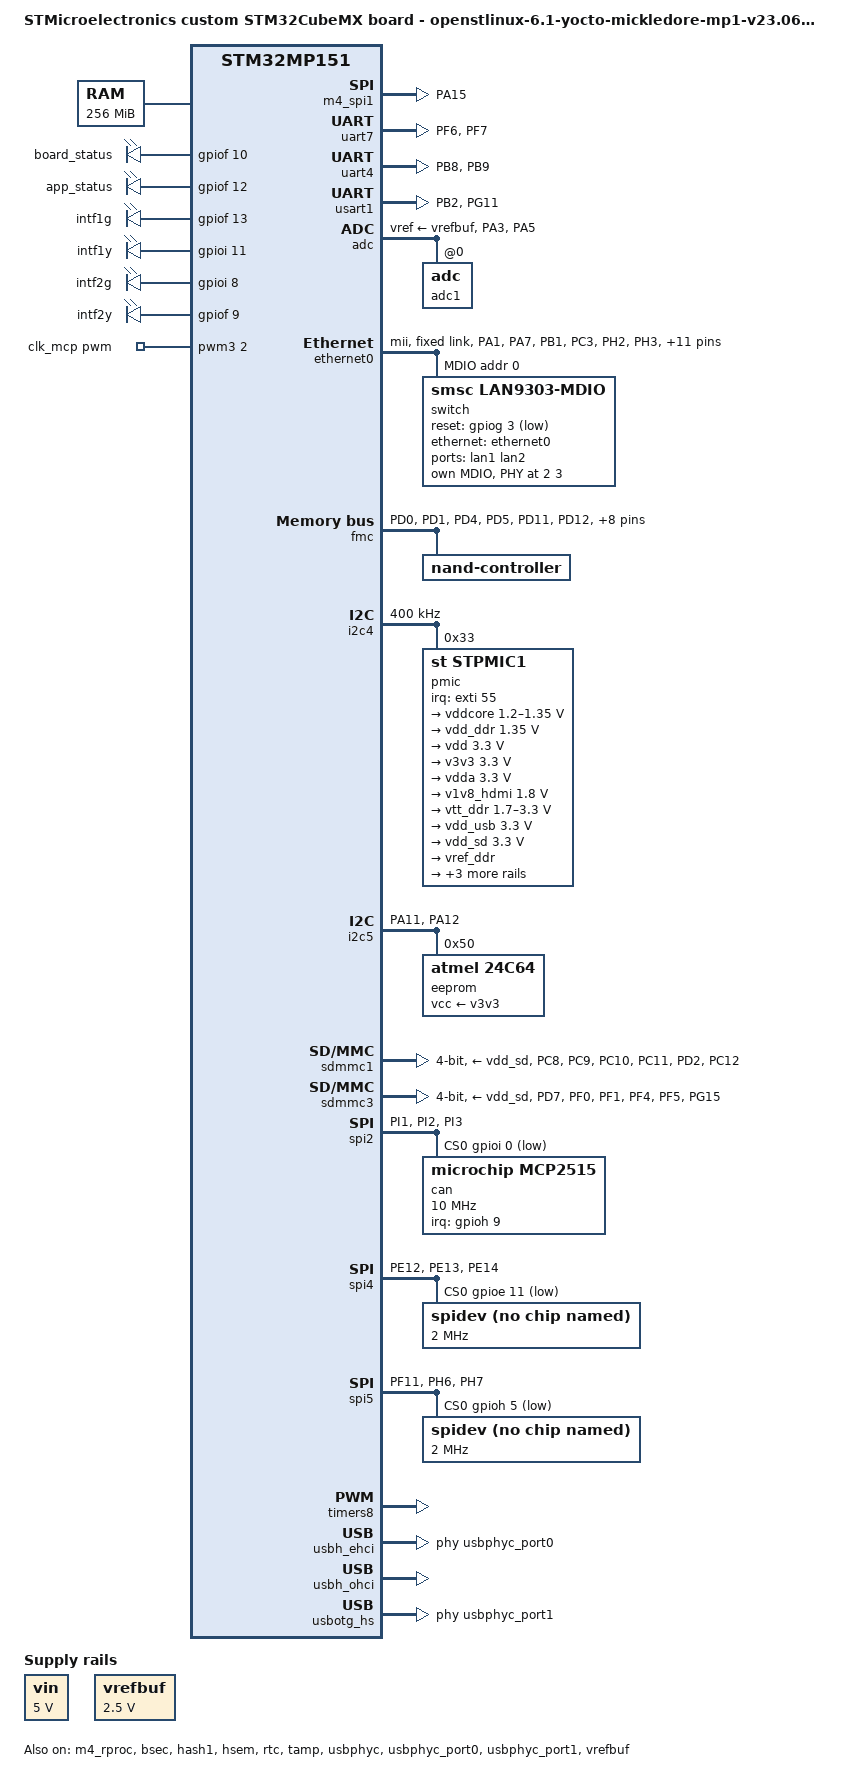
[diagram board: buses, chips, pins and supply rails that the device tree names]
// SPDX-License-Identifier: (GPL-2.0-or-later OR BSD-3-Clause)
/*
 * Copyright (C) 2024, STMicroelectronics - All Rights Reserved
 * Author: STM32CubeMX code generation for STMicroelectronics.
 */

/* For more information on Device Tree configuration, please refer to
 * https://wiki.st.com/stm32mpu/wiki/Category:Device_tree_configuration
 */

 /dts-v1/;
 #include <dt-bindings/pinctrl/stm32-pinfunc.h>
 
 #include "stm32mp151.dtsi"
 #include "stm32mp15xa.dtsi"
 #include "stm32mp15xxac-pinctrl.dtsi"
 #include "stm32mp15-m4-srm.dtsi"
 
 /* USER CODE BEGIN includes */
 #include <dt-bindings/mfd/st,stpmic1.h>
 #include "mcu-scmi.dtsi"
 #include <dt-bindings/leds/common.h>
 /* USER CODE END includes */
 
 / {
    model = "STMicroelectronics custom STM32CubeMX board - openstlinux-6.1-yocto-mickledore-mp1-v23.06.21";
    compatible = "st,stm32mp151a-mcu-xx-mx", "st,stm32mp151";

    memory@c0000000 {
        device_type = "memory";
        reg = <0xc0000000 0x10000000>;

        /* USER CODE BEGIN memory */
        /* USER CODE END memory */
    };

    aliases {
		ethernet0 = &ethernet0;
		serial0 = &usart1; //debug
		serial1 = &uart7; 
		serial2 = &uart4;
	};

	chosen {
		stdout-path = "serial0:115200n8";
	};

	led {
		compatible = "gpio-leds";

		board_status {
			gpios = <&gpiof 10 GPIO_ACTIVE_LOW>;
			linux,default-trigger = "timer";
			led-pattern = <50 50>;
		};

		app_status {
			gpios = <&gpiof 12 GPIO_ACTIVE_HIGH>;
			linux,default-trigger = "default-on";
			default-state = "on";
		};

		intf1g {
			gpios = <&gpiof 13 GPIO_ACTIVE_HIGH>;
			linux,default-trigger = "default-on";
			default-state = "on";
		};

		intf1y {
			gpios = <&gpioi 11 GPIO_ACTIVE_HIGH>;
			linux,default-trigger = "default-on";
			default-state = "on";
		};

		intf2g {
			gpios = <&gpioi 8 GPIO_ACTIVE_HIGH>;
			linux,default-trigger = "default-on";
			default-state = "on";
		};

		intf2y {
			gpios = <&gpiof 9 GPIO_ACTIVE_HIGH>;
			linux,default-trigger = "default-on";
			default-state = "on";
		};
	};
 
     reserved-memory {
         #address-cells = <1>;
         #size-cells = <1>;
         ranges;
 
         /* USER CODE BEGIN reserved-memory */
         mcuram2: mcuram2@10000000 {
             compatible = "shared-dma-pool";
             reg = <0x10000000 0x56000>;
             no-map;
         };
 
         vdev0vring0: vdev0vring0@10056000 {
             compatible = "shared-dma-pool";
             reg = <0x10056000 0x1000>;
             no-map;
         };
 
         vdev0vring1: vdev0vring1@10057000 {
             compatible = "shared-dma-pool";
             reg = <0x10057000 0x1000>;
             no-map;
         };
 
         vdev0buffer: vdev0buffer@10058000 {
             compatible = "shared-dma-pool";
             reg = <0x10058000 0x8000>;
             no-map;
         };
 
         mcuram: mcuram@30000000 {
             compatible = "shared-dma-pool";
             reg = <0x30000000 0x56000>;
             no-map;
         };
 
         retram: retram@38000000 {
             compatible = "shared-dma-pool";
             reg = <0x38000000 0x10000>;
             no-map;
         };
         /* USER CODE END reserved-memory */
     };
 
     /* USER CODE BEGIN root */
     usb_phy_tuning: usb-phy-tuning {
         st,hs-dc-level = <2>;
         st,fs-rftime-tuning;
         st,hs-rftime-reduction;
         st,hs-current-trim = <15>;
         st,hs-impedance-trim = <1>;
         st,squelch-level = <3>;
         st,hs-rx-offset = <2>;
         st,no-lsfs-sc;
     };
 
     vin: vin {
         compatible = "regulator-fixed";
         regulator-name = "vin";
         regulator-min-microvolt = <5000000>;
         regulator-max-microvolt = <5000000>;
         regulator-always-on;
     };
 
     clk_mcp: clk_mcp {
         compatible = "pwm-clock";
         #clock-cells = <0>;
         clock-frequency = <16000000>;
         pwms = <&pwm3 2 63 0>; /* 1 / 62.5 ns = 16 MHz */
         status = "okay";
     };
 
     led {
         compatible = "gpio-leds";
 
         board_status {
             gpios = <&gpiof 10 GPIO_ACTIVE_HIGH>;
             linux,default-trigger = "timer";
             led-pattern = <50 50>;
         };
 
         app_status {
             gpios = <&gpiof 12 GPIO_ACTIVE_HIGH>;
             linux,default-trigger = "timer";
             led-pattern = <50 50>;
         };
 
         intf1g {
             gpios = <&gpiof 13 GPIO_ACTIVE_HIGH>;
             linux,default-trigger = "timer";
             led-pattern = <50 50>;
         };
 
         intf1y {
             gpios = <&gpioi 11 GPIO_ACTIVE_HIGH>;
             linux,default-trigger = "timer";
             led-pattern = <50 50>;
         };
 
         intf2g {
             gpios = <&gpioi 8 GPIO_ACTIVE_HIGH>;
             linux,default-trigger = "timer";
             led-pattern = <50 50>;
         };
 
         intf2y {
             gpios = <&gpiof 9 GPIO_ACTIVE_HIGH>;
             linux,default-trigger = "timer";
             led-pattern = <50 50>;
         };
     };
     /* USER CODE END root */
 
     clocks{
 
         /* USER CODE BEGIN clocks */
         /* USER CODE END clocks */
     };
 
 }; /*root*/
 
 &pinctrl {
    uart4_pins_mx: uart4_mx-0 {
		pins1 {
			pinmux = <STM32_PINMUX('B', 8, AF8)>; /* UART4_RX */
			bias-disable;
		};
		pins2 {
			pinmux = <STM32_PINMUX('B', 9, AF8)>; /* UART4_TX */
			bias-disable;
			drive-push-pull;
			slew-rate = <0>;
		};
	};

	uart4_idle_pins_mx: uart4_idle_mx-0 {
		pins1 {
			pinmux = <STM32_PINMUX('B', 8, AF8)>; /* UART4_RX */
			bias-disable;
		};
		pins2 {
			pinmux = <STM32_PINMUX('B', 9, ANALOG)>; /* UART4_TX */
		};
	};

	uart4_sleep_pins_mx: uart4_sleep_mx-0 {
		pins {
			pinmux = <STM32_PINMUX('B', 8, ANALOG)>, /* UART4_RX */
					 <STM32_PINMUX('B', 9, ANALOG)>; /* UART4_TX */
		};
	};

	usart1_pins_mx: usart1_mx-0 {
		pins1 {
			pinmux = <STM32_PINMUX('B', 2, AF4)>; /* USART1_RX */
			bias-disable;
		};
		pins2 {
			pinmux = <STM32_PINMUX('G', 11, AF4)>; /* USART1_TX */
			bias-disable;
			drive-push-pull;
			slew-rate = <0>;
		};
	};

	usart1_idle_pins_mx: usart1_idle_mx-0 {
		pins1 {
			pinmux = <STM32_PINMUX('B', 2, AF4)>; /* USART1_RX */
			bias-disable;
		};
		pins2 {
			pinmux = <STM32_PINMUX('G', 11, ANALOG)>; /* USART1_TX */
		};
	};

	usart1_sleep_pins_mx: usart1_sleep_mx-0 {
		pins {
			pinmux = <STM32_PINMUX('B', 2, ANALOG)>, /* USART1_RX */
					 <STM32_PINMUX('G', 11, ANALOG)>; /* USART1_TX */
		};
	};

	uart7_pins_mx: uart7_mx-0 {
		pins1 {
			pinmux = <STM32_PINMUX('F', 6, AF7)>; /* UART7_RX */
			bias-disable;
		};
		pins2 {
			pinmux = <STM32_PINMUX('F', 7, AF7)>; /* UART7_TX */
			bias-disable;
			drive-push-pull;
			slew-rate = <0>;
		};
	};

	uart7_idle_pins_mx: uart7_idle_mx-0 {
		pins1 {
			pinmux = <STM32_PINMUX('F', 6, AF7)>; /* UART7_RX */
			bias-disable;
		};
		pins2 {
			pinmux = <STM32_PINMUX('F', 7, ANALOG)>; /* UART7_TX */
		};
	};

	uart7_sleep_pins_mx: uart7_sleep_mx-0 {
		pins {
			pinmux = <STM32_PINMUX('F', 6, ANALOG)>, /* UART7_RX */
					 <STM32_PINMUX('F', 7, ANALOG)>; /* UART7_TX */
		};
	};

	m4_spi1_pins_mx: m4_spi1_mx-0 {
		pins {
			pinmux = <STM32_PINMUX('A', 15, RSVD)>; /* SPI1_NSS */
		};
    };
 
     adc_pins_mx: adc_mx-0 {
         pins {
             pinmux = <STM32_PINMUX('A', 3, ANALOG)>, /* ADC1_INP15 */
                      <STM32_PINMUX('A', 5, ANALOG)>; /* ADC1_INP19 */
         };
     };
 
     adc_sleep_pins_mx: adc_sleep_mx-0 {
         pins {
             pinmux = <STM32_PINMUX('A', 3, ANALOG)>, /* ADC1_INP15 */
                      <STM32_PINMUX('A', 5, ANALOG)>; /* ADC1_INP19 */
         };
     };
 
     eth1_pins_mx: eth1_mx-0 {
         pins1 {
             pinmux = <STM32_PINMUX('A', 1, AF11)>, /* ETH1_RX_CLK */
                      <STM32_PINMUX('A', 7, AF11)>, /* ETH1_RX_DV */
                      <STM32_PINMUX('B', 1, AF11)>, /* ETH1_RXD3 */
                      <STM32_PINMUX('C', 3, AF11)>, /* ETH1_TX_CLK */
                      <STM32_PINMUX('H', 2, AF11)>, /* ETH1_CRS */
                      <STM32_PINMUX('H', 3, AF11)>, /* ETH1_COL */
                      <STM32_PINMUX('I', 10, AF11)>; /* ETH1_RX_ER */
             bias-disable;
         };
         pins2 {
             pinmux = <STM32_PINMUX('A', 2, AF11)>; /* ETH1_MDIO */
             bias-disable;
             drive-push-pull;
             slew-rate = <0>;
         };
         pins3 {
             pinmux = <STM32_PINMUX('B', 0, AF11)>, /* ETH1_RXD2 */
                      <STM32_PINMUX('C', 4, AF11)>; /* ETH1_RXD0 */
             bias-pull-down;
         };
         pins4 {
             pinmux = <STM32_PINMUX('B', 11, AF11)>, /* ETH1_TX_EN */
                      <STM32_PINMUX('C', 1, AF11)>, /* ETH1_MDC */
                      <STM32_PINMUX('C', 2, AF11)>, /* ETH1_TXD2 */
                      <STM32_PINMUX('E', 2, AF11)>, /* ETH1_TXD3 */
                      <STM32_PINMUX('G', 13, AF11)>, /* ETH1_TXD0 */
                      <STM32_PINMUX('G', 14, AF11)>; /* ETH1_TXD1 */
             bias-disable;
             drive-push-pull;
             slew-rate = <1>;
         };
         pins5 {
             pinmux = <STM32_PINMUX('C', 5, AF11)>; /* ETH1_RXD1 */
             bias-pull-up;
         };
     };
 
     eth1_sleep_pins_mx: eth1_sleep_mx-0 {
         pins {
             pinmux = <STM32_PINMUX('A', 1, ANALOG)>, /* ETH1_RX_CLK */
                      <STM32_PINMUX('A', 2, ANALOG)>, /* ETH1_MDIO */
                      <STM32_PINMUX('A', 7, ANALOG)>, /* ETH1_RX_DV */
                      <STM32_PINMUX('B', 0, ANALOG)>, /* ETH1_RXD2 */
                      <STM32_PINMUX('B', 1, ANALOG)>, /* ETH1_RXD3 */
                      <STM32_PINMUX('B', 11, ANALOG)>, /* ETH1_TX_EN */
                      <STM32_PINMUX('C', 1, ANALOG)>, /* ETH1_MDC */
                      <STM32_PINMUX('C', 2, ANALOG)>, /* ETH1_TXD2 */
                      <STM32_PINMUX('C', 3, ANALOG)>, /* ETH1_TX_CLK */
                      <STM32_PINMUX('C', 4, ANALOG)>, /* ETH1_RXD0 */
                      <STM32_PINMUX('C', 5, ANALOG)>, /* ETH1_RXD1 */
                      <STM32_PINMUX('E', 2, ANALOG)>, /* ETH1_TXD3 */
                      <STM32_PINMUX('G', 13, ANALOG)>, /* ETH1_TXD0 */
                      <STM32_PINMUX('G', 14, ANALOG)>, /* ETH1_TXD1 */
                      <STM32_PINMUX('H', 2, ANALOG)>, /* ETH1_CRS */
                      <STM32_PINMUX('H', 3, ANALOG)>, /* ETH1_COL */
                      <STM32_PINMUX('I', 10, ANALOG)>; /* ETH1_RX_ER */
         };
     };
 
     fmc_pins_mx: fmc_mx-0 {
         pins1 {
             pinmux = <STM32_PINMUX('D', 0, AF12)>, /* FMC_D2 */
                      <STM32_PINMUX('D', 1, AF12)>, /* FMC_D3 */
                      <STM32_PINMUX('D', 4, AF12)>, /* FMC_NOE */
                      <STM32_PINMUX('D', 5, AF12)>, /* FMC_NWE */
                      <STM32_PINMUX('D', 11, AF12)>, /* FMC_CLE */
                      <STM32_PINMUX('D', 12, AF12)>, /* FMC_ALE */
                      <STM32_PINMUX('D', 14, AF12)>, /* FMC_D0 */
                      <STM32_PINMUX('D', 15, AF12)>, /* FMC_D1 */
                      <STM32_PINMUX('E', 7, AF12)>, /* FMC_D4 */
                      <STM32_PINMUX('E', 8, AF12)>, /* FMC_D5 */
                      <STM32_PINMUX('E', 9, AF12)>, /* FMC_D6 */
                      <STM32_PINMUX('E', 10, AF12)>, /* FMC_D7 */
                      <STM32_PINMUX('G', 9, AF12)>; /* FMC_NCE */
             bias-disable;
             drive-push-pull;
             slew-rate = <1>;
         };
         pins2 {
             pinmux = <STM32_PINMUX('D', 6, AF12)>; /* FMC_NWAIT */
             bias-pull-up;
         };
     };
 
     fmc_sleep_pins_mx: fmc_sleep_mx-0 {
         pins {
             pinmux = <STM32_PINMUX('D', 0, ANALOG)>, /* FMC_D2 */
                      <STM32_PINMUX('D', 1, ANALOG)>, /* FMC_D3 */
                      <STM32_PINMUX('D', 4, ANALOG)>, /* FMC_NOE */
                      <STM32_PINMUX('D', 5, ANALOG)>, /* FMC_NWE */
                      <STM32_PINMUX('D', 6, ANALOG)>, /* FMC_NWAIT */
                      <STM32_PINMUX('D', 11, ANALOG)>, /* FMC_CLE */
                      <STM32_PINMUX('D', 12, ANALOG)>, /* FMC_ALE */
                      <STM32_PINMUX('D', 14, ANALOG)>, /* FMC_D0 */
                      <STM32_PINMUX('D', 15, ANALOG)>, /* FMC_D1 */
                      <STM32_PINMUX('E', 7, ANALOG)>, /* FMC_D4 */
                      <STM32_PINMUX('E', 8, ANALOG)>, /* FMC_D5 */
                      <STM32_PINMUX('E', 9, ANALOG)>, /* FMC_D6 */
                      <STM32_PINMUX('E', 10, ANALOG)>, /* FMC_D7 */
                      <STM32_PINMUX('G', 9, ANALOG)>; /* FMC_NCE */
         };
     };
 
     i2c5_pins_mx: i2c5_mx-0 {
         pins {
             pinmux = <STM32_PINMUX('A', 11, AF4)>, /* I2C5_SCL */
                      <STM32_PINMUX('A', 12, AF4)>; /* I2C5_SDA */
             bias-disable;
             drive-open-drain;
             slew-rate = <0>;
         };
     };
 
     i2c5_sleep_pins_mx: i2c5_sleep_mx-0 {
         pins {
             pinmux = <STM32_PINMUX('A', 11, ANALOG)>, /* I2C5_SCL */
                      <STM32_PINMUX('A', 12, ANALOG)>; /* I2C5_SDA */
         };
     };
 
     sdmmc1_pins_mx: sdmmc1_mx-0 {
         pins1 {
             pinmux = <STM32_PINMUX('C', 8, AF12)>, /* SDMMC1_D0 */
                      <STM32_PINMUX('C', 9, AF12)>, /* SDMMC1_D1 */
                      <STM32_PINMUX('C', 10, AF12)>, /* SDMMC1_D2 */
                      <STM32_PINMUX('C', 11, AF12)>, /* SDMMC1_D3 */
                      <STM32_PINMUX('D', 2, AF12)>; /* SDMMC1_CMD */
             bias-pull-up;
             drive-push-pull;
             slew-rate = <1>;
         };
         pins2 {
             pinmux = <STM32_PINMUX('C', 12, AF12)>; /* SDMMC1_CK */
             bias-disable;
             drive-push-pull;
             slew-rate = <3>;
         };
     };
 
     sdmmc1_opendrain_pins_mx: sdmmc1_opendrain_mx-0 {
         pins1 {
             pinmux = <STM32_PINMUX('C', 8, AF12)>, /* SDMMC1_D0 */
                      <STM32_PINMUX('C', 9, AF12)>, /* SDMMC1_D1 */
                      <STM32_PINMUX('C', 10, AF12)>, /* SDMMC1_D2 */
                      <STM32_PINMUX('C', 11, AF12)>; /* SDMMC1_D3 */
             bias-pull-up;
             drive-push-pull;
             slew-rate = <1>;
         };
         pins2 {
             pinmux = <STM32_PINMUX('C', 12, AF12)>; /* SDMMC1_CK */
             bias-disable;
             drive-push-pull;
             slew-rate = <3>;
         };
         pins3 {
             pinmux = <STM32_PINMUX('D', 2, AF12)>; /* SDMMC1_CMD */
             bias-pull-up;
             drive-open-drain;
             slew-rate = <1>;
         };
     };
 
     sdmmc1_sleep_pins_mx: sdmmc1_sleep_mx-0 {
         pins {
             pinmux = <STM32_PINMUX('C', 8, ANALOG)>, /* SDMMC1_D0 */
                      <STM32_PINMUX('C', 9, ANALOG)>, /* SDMMC1_D1 */
                      <STM32_PINMUX('C', 10, ANALOG)>, /* SDMMC1_D2 */
                      <STM32_PINMUX('C', 11, ANALOG)>, /* SDMMC1_D3 */
                      <STM32_PINMUX('C', 12, ANALOG)>, /* SDMMC1_CK */
                      <STM32_PINMUX('D', 2, ANALOG)>; /* SDMMC1_CMD */
         };
     };
 
     sdmmc3_pins_mx: sdmmc3_mx-0 {
         pins1 {
             pinmux = <STM32_PINMUX('D', 7, AF10)>, /* SDMMC3_D3 */
                      <STM32_PINMUX('F', 0, AF9)>, /* SDMMC3_D0 */
                      <STM32_PINMUX('F', 1, AF9)>, /* SDMMC3_CMD */
                      <STM32_PINMUX('F', 4, AF9)>, /* SDMMC3_D1 */
                      <STM32_PINMUX('F', 5, AF9)>; /* SDMMC3_D2 */
             bias-pull-up;
             drive-push-pull;
             slew-rate = <1>;
         };
         pins2 {
             pinmux = <STM32_PINMUX('G', 15, AF10)>; /* SDMMC3_CK */
             bias-disable;
             drive-push-pull;
             slew-rate = <3>;
         };
     };
 
     sdmmc3_opendrain_pins_mx: sdmmc3_opendrain_mx-0 {
         pins1 {
             pinmux = <STM32_PINMUX('D', 7, AF10)>, /* SDMMC3_D3 */
                      <STM32_PINMUX('F', 0, AF9)>, /* SDMMC3_D0 */
                      <STM32_PINMUX('F', 4, AF9)>, /* SDMMC3_D1 */
                      <STM32_PINMUX('F', 5, AF9)>; /* SDMMC3_D2 */
             bias-pull-up;
             drive-push-pull;
             slew-rate = <1>;
         };
         pins2 {
             pinmux = <STM32_PINMUX('F', 1, AF9)>; /* SDMMC3_CMD */
             bias-pull-up;
             drive-open-drain;
             slew-rate = <1>;
         };
         pins3 {
             pinmux = <STM32_PINMUX('G', 15, AF10)>; /* SDMMC3_CK */
             bias-disable;
             drive-push-pull;
             slew-rate = <3>;
         };
     };
 
     sdmmc3_sleep_pins_mx: sdmmc3_sleep_mx-0 {
         pins {
             pinmux = <STM32_PINMUX('D', 7, ANALOG)>, /* SDMMC3_D3 */
                      <STM32_PINMUX('F', 0, ANALOG)>, /* SDMMC3_D0 */
                      <STM32_PINMUX('F', 1, ANALOG)>, /* SDMMC3_CMD */
                      <STM32_PINMUX('F', 4, ANALOG)>, /* SDMMC3_D1 */
                      <STM32_PINMUX('F', 5, ANALOG)>, /* SDMMC3_D2 */
                      <STM32_PINMUX('G', 15, ANALOG)>; /* SDMMC3_CK */
         };
     };
 
     spi2_pins_mx: spi2_mx-0 {
         pins {
             pinmux = <STM32_PINMUX('I', 1, AF5)>, /* SPI2_SCK */
                      <STM32_PINMUX('I', 2, AF5)>, /* SPI2_MISO */
                      <STM32_PINMUX('I', 3, AF5)>; /* SPI2_MOSI */
             bias-disable;
             drive-push-pull;
             slew-rate = <1>;
         };
     };
 
     spi2_sleep_pins_mx: spi2_sleep_mx-0 {
         pins {
             pinmux = <STM32_PINMUX('I', 1, ANALOG)>, /* SPI2_SCK */
                      <STM32_PINMUX('I', 2, ANALOG)>, /* SPI2_MISO */
                      <STM32_PINMUX('I', 3, ANALOG)>; /* SPI2_MOSI */
         };
     };
 
     spi4_pins_mx: spi4_mx-0 {
         pins {
             pinmux = <STM32_PINMUX('E', 12, AF5)>, /* SPI4_SCK */
                      <STM32_PINMUX('E', 13, AF5)>, /* SPI4_MISO */
                      <STM32_PINMUX('E', 14, AF5)>; /* SPI4_MOSI */
             bias-disable;
             drive-push-pull;
             slew-rate = <1>;
         };
     };
 
     spi4_sleep_pins_mx: spi4_sleep_mx-0 {
         pins {
             pinmux = <STM32_PINMUX('E', 12, ANALOG)>, /* SPI4_SCK */
                      <STM32_PINMUX('E', 13, ANALOG)>, /* SPI4_MISO */
                      <STM32_PINMUX('E', 14, ANALOG)>; /* SPI4_MOSI */
         };
     };
 
     spi5_pins_mx: spi5_mx-0 {
         pins {
             pinmux = <STM32_PINMUX('F', 11, AF5)>, /* SPI5_MOSI */
                      <STM32_PINMUX('H', 6, AF5)>, /* SPI5_SCK */
                      <STM32_PINMUX('H', 7, AF5)>; /* SPI5_MISO */
             bias-disable;
             drive-push-pull;
             slew-rate = <1>;
         };
     };
 
     spi5_sleep_pins_mx: spi5_sleep_mx-0 {
         pins {
             pinmux = <STM32_PINMUX('F', 11, ANALOG)>, /* SPI5_MOSI */
                      <STM32_PINMUX('H', 6, ANALOG)>, /* SPI5_SCK */
                      <STM32_PINMUX('H', 7, ANALOG)>; /* SPI5_MISO */
         };
     };
 
     tim8_pwm_pins_mx: tim8_pwm_mx-0 {
         pins {
             pinmux = <STM32_PINMUX('H', 15, AF3)>; /* TIM8_CH3N */
             bias-disable;
             drive-push-pull;
             slew-rate = <0>;
         };
     };
 
     tim8_pwm_sleep_pins_mx: tim8_pwm_sleep_mx-0 {
         pins {
             pinmux = <STM32_PINMUX('H', 15, ANALOG)>; /* TIM8_CH3N */
         };
     };
 
     /* USER CODE BEGIN pinctrl */
     /* USER CODE END pinctrl */
 };
 
 &pinctrl_z {
 
     i2c4_pins_z_mx: i2c4_mx-0 {
         pins {
             pinmux = <STM32_PINMUX('Z', 4, AF6)>, /* I2C4_SCL */
                      <STM32_PINMUX('Z', 5, AF6)>; /* I2C4_SDA */
             bias-disable;
             drive-open-drain;
             slew-rate = <0>;
         };
     };
 
     i2c4_sleep_pins_z_mx: i2c4_sleep_mx-0 {
         pins {
             pinmux = <STM32_PINMUX('Z', 4, ANALOG)>, /* I2C4_SCL */
                      <STM32_PINMUX('Z', 5, ANALOG)>; /* I2C4_SDA */
         };
     };

    m4_spi1_pins_z_mx: m4_spi1_mx-0 {
		pins {
			pinmux = <STM32_PINMUX('Z', 0, RSVD)>, /* SPI1_SCK */
					 <STM32_PINMUX('Z', 1, RSVD)>, /* SPI1_MISO */
					 <STM32_PINMUX('Z', 2, RSVD)>; /* SPI1_MOSI */
		};
	};

     /* USER CODE BEGIN pinctrl_z */
     /* USER CODE END pinctrl_z */
 };

 &m4_spi1{
	pinctrl-names = "default";
	pinctrl-0 = <&m4_spi1_pins_mx &m4_spi1_pins_z_mx>;
	status = "okay";

	/* USER CODE BEGIN m4_spi1 */
	/* USER CODE END m4_spi1 */
};

&m4_rproc{
	m4_system_resources{
		status = "okay";
	};
};

&uart7{
	pinctrl-names = "default", "idle", "sleep";
	pinctrl-0 = <&uart7_pins_mx>;
	pinctrl-1 = <&uart7_idle_pins_mx>;
	pinctrl-2 = <&uart7_sleep_pins_mx>;
	status = "okay";

	/* USER CODE BEGIN uart7 */
	/* USER CODE END uart7 */
};

&uart4{
	pinctrl-names = "default", "idle", "sleep";
	pinctrl-0 = <&uart4_pins_mx>;
	pinctrl-1 = <&uart4_idle_pins_mx>;
	pinctrl-2 = <&uart4_sleep_pins_mx>;
	status = "okay";

	/* USER CODE BEGIN uart4 */
	/* USER CODE END uart4 */
};

&usart1{
	pinctrl-names = "default", "idle", "sleep";
	pinctrl-0 = <&usart1_pins_mx>;
	pinctrl-1 = <&usart1_idle_pins_mx>;
	pinctrl-2 = <&usart1_sleep_pins_mx>;
	status = "okay";

	/* USER CODE BEGIN usart1 */
	/* USER CODE END usart1 */
};
 
 &m4_rproc{
     /*Restriction: "memory-region" property is not managed - please to use User-Section if needed*/
     mboxes = <&ipcc 0>, <&ipcc 1>, <&ipcc 2>;
     mbox-names = "vq0", "vq1", "shutdown";
     status = "okay";
 
     /* USER CODE BEGIN m4_rproc */
     memory-region = <&retram>, <&mcuram>, <&mcuram2>, <&vdev0vring0>,
             <&vdev0vring1>, <&vdev0buffer>;
     mboxes = <&ipcc 0>, <&ipcc 1>, <&ipcc 2>;
     mbox-names = "vq0", "vq1", "shutdown";
     interrupt-parent = <&exti>;
     interrupts = <68 1>;
     wakeup-source;
     status = "okay";
     /* USER CODE END m4_rproc */
 };
 
 &adc{
     pinctrl-names = "default", "sleep";
     pinctrl-0 = <&adc_pins_mx>;
     pinctrl-1 = <&adc_sleep_pins_mx>;
     status = "okay";
 
     /* USER CODE BEGIN adc */
     vdda-supply = <&vdda>;
     vref-supply = <&vrefbuf>;
     adc1: adc@0 {
         #address-cells = <1>;
         #size-cells = <0>;
         status = "okay";
         channel@0 {
             reg = <0>;
             st,min-sample-time-ns = <10000>;
         };
         channel@1 {
             reg = <1>;
             st,min-sample-time-ns = <10000>;
         };
         channel@15 {
             reg = <15>;
             st,min-sample-time-ns = <10000>;
         };
         channel@19 {
             reg = <19>;
             st,min-sample-time-ns = <10000>;
         };
     };
     /* USER CODE END adc */
 };
 
 &bsec{
     status = "okay";
 
     /* USER CODE BEGIN bsec */
     /* USER CODE END bsec */
 };
 
 &dma1{
     status = "okay";
 
     /* USER CODE BEGIN dma1 */
     /* USER CODE END dma1 */
 };
 
 &dma2{
     status = "disabled";
 
     /* USER CODE BEGIN dma2 */
     /* USER CODE END dma2 */
 };
 
 &dmamux1{
     status = "okay";
 
     dma-masters = <&dma1>;
     dma-channels = <8>;
 
     /* USER CODE BEGIN dmamux1 */
     /* USER CODE END dmamux1 */
 };
 
 &ethernet0{
     pinctrl-names = "default", "sleep";
     pinctrl-0 = <&eth1_pins_mx>;
     pinctrl-1 = <&eth1_sleep_pins_mx>;
     status = "okay";
 
     /* USER CODE BEGIN ethernet0 */
     phy-mode = "mii";
     max-speed = <100>;
     fixed-link {
         speed = <100>;
         full-duplex;
     };
                 
     mdio {
         #address-cells = <1>;
         #size-cells = <0>;
         compatible = "snps,dwmac-mdio";
 
         switch: switch-phy@0 {
             compatible = "smsc,lan9303-mdio";
             #address-cells = <1>;
             #size-cells = <0>;
             dsa,member = <0 0>;
             reg = <0>;
             reset-gpios = <&gpiog 3 GPIO_ACTIVE_LOW>;
             reset-duration = <400>;
                         
             ports {
                 #address-cells = <1>;
                 #size-cells = <0>;
 
                 port@0 {
                     reg = <0>;
                     ethernet = <&ethernet0>;
                     phy-mode = "mii";
 
                     fixed-link {
                         speed = <100>;
                         full-duplex;
                     };
                 };
 
                 port@1 {
                     reg = <1>;
                     phy-mode = "internal";
                     phy-handle = <&phy1>;
                     label = "lan1";
                 };
 
                 port@2 {
                     reg = <2>;
                     phy-mode = "internal";
                     phy-handle = <&phy2>;
                     label = "lan2";
                 };
             };
 
             mdio {
                 #address-cells = <1>;
                 #size-cells = <0>;
 
                 phy1: ethernet-phy@2{
                     reg = <0x2>;
                 };
 
                 phy2: ethernet-phy@3{
                     reg = <0x3>;
                 };
             };
         };
     };
     /* USER CODE END ethernet0 */
 };
 
 &fmc{
     pinctrl-names = "default", "sleep";
     pinctrl-0 = <&fmc_pins_mx>;
     pinctrl-1 = <&fmc_sleep_pins_mx>;
     status = "okay";
 
     /* USER CODE BEGIN fmc */
     nand-controller@4,0 {
         status = "okay";
                              
         nand@0 {
             reg = <0>;
             nand-on-flash-bbt;
             nand-ecc-strength = <4>;
             nand-ecc-step-size = <512>;
             #address-cells = <1>;
             #size-cells = <1>;
         };
     }; 
     /* USER CODE END fmc */
 };
 
 &hash1{
     status = "okay";
 
     /* USER CODE BEGIN hash1 */
     /* USER CODE END hash1 */
 };
 
 &hsem{
     status = "okay";
 
     /* USER CODE BEGIN hsem */
     /* USER CODE END hsem */
 };
 
 &i2c4{
     pinctrl-names = "default", "sleep";
     pinctrl-0 = <&i2c4_pins_z_mx>;
     pinctrl-1 = <&i2c4_sleep_pins_z_mx>;
     status = "okay";
 
     /* USER CODE BEGIN i2c4 */
     i2c-scl-rising-time-ns = <185>;
     i2c-scl-falling-time-ns = <20>;
     clock-frequency = <400000>;
     /delete-property/dmas;
     /delete-property/dma-names;
     
     pmic: stpmic@33 {
         compatible = "st,stpmic1";
         reg = <0x33>;
         interrupts-extended = <&exti 55 IRQ_TYPE_EDGE_FALLING>;
         interrupt-controller;
         #interrupt-cells = <2>;
         status = "okay";
 
         regulators {
             compatible = "st,stpmic1-regulators";
             buck1-supply = <&vin>;
             buck2-supply = <&vin>;
             buck3-supply = <&vin>;
             buck4-supply = <&vin>;
             ldo1-supply = <&v3v3>;
             ldo2-supply = <&vin>;
             ldo3-supply = <&vdd_ddr>;
             ldo4-supply = <&vin>;
             ldo5-supply = <&vin>;
             ldo6-supply = <&v3v3>;
             vref_ddr-supply = <&vin>;
             boost-supply = <&vin>;
             pwr_sw1-supply = <&bst_out>;
             pwr_sw2-supply = <&bst_out>;
         
 
             vddcore: buck1 {
                 regulator-name = "vddcore";
                 regulator-min-microvolt = <1200000>;
                 regulator-max-microvolt = <1350000>;
                 regulator-always-on;
                 regulator-initial-mode = <0>;
                 regulator-over-current-protection;
             };
 
             vdd_ddr: buck2 {
                 regulator-name = "vdd_ddr";
                 regulator-min-microvolt = <1350000>;
                 regulator-max-microvolt = <1350000>;
                 regulator-always-on;
                 regulator-initial-mode = <0>;
                 regulator-over-current-protection;
             };
 
             vdd: buck3 {
                 regulator-name = "vdd";
                 regulator-min-microvolt = <3300000>;
                 regulator-max-microvolt = <3300000>;
                 regulator-always-on;
                 st,mask-reset;
                 regulator-initial-mode = <0>;
                 regulator-over-current-protection;
             };
 
             v3v3: buck4 {
                 regulator-name = "v3v3";
                 regulator-min-microvolt = <3300000>;
                 regulator-max-microvolt = <3300000>;
                 regulator-always-on;
                 regulator-over-current-protection;
                 regulator-initial-mode = <0>;
             };
             
             vdda: ldo1 {
                 regulator-name = "vdda";
                 regulator-min-microvolt = <3300000>;
                 regulator-max-microvolt = <3300000>;
                 regulator-always-on;
                 interrupts = <IT_CURLIM_LDO1 0>;
 
             };
 
             v1v8_hdmi: ldo2 {
                 regulator-name = "v1v8_hdmi";
                 regulator-min-microvolt = <1800000>;
                 regulator-max-microvolt = <1800000>;
                 regulator-always-on;
                 interrupts = <IT_CURLIM_LDO2 0>;
 
             };
 
             vtt_ddr: ldo3 {
                 regulator-name = "vtt_ddr";
                 regulator-min-microvolt = <1700000>;
                 regulator-max-microvolt = <3300000>;
                 regulator-always-on;
                 regulator-over-current-protection;
             };
 
             vdd_usb: ldo4 {
                 regulator-name = "vdd_usb";
                 regulator-min-microvolt = <3300000>;
                 regulator-max-microvolt = <3300000>;
                 interrupts = <IT_CURLIM_LDO4 0>;
                 regulator-always-on;
             };
 
             vdd_sd: ldo5 {
                 regulator-name = "vdd_sd";
                 regulator-min-microvolt = <3300000>;
                 regulator-max-microvolt = <3300000>;
                 interrupts = <IT_CURLIM_LDO5 0>;
                 regulator-boot-on;
             };
 
             vref_ddr: vref_ddr {
                 regulator-name = "vref_ddr";
                 regulator-always-on;
                 regulator-over-current-protection;
             };
 
             bst_out: boost {
                 regulator-name = "bst_out";
                 interrupts = <IT_OCP_BOOST 0>;
             };
 
             vbus_otg: pwr_sw1 {
                 regulator-name = "vbus_otg";
                 interrupts = <IT_OCP_OTG 0>;
             };
 
             vbus_sw: pwr_sw2 {
                 regulator-name = "vbus_sw";
                 interrupts = <IT_OCP_SWOUT 0>;
                 regulator-active-discharge = <1>;
             };
         };
 
         onkey {
             compatible = "st,stpmic1-onkey";
             interrupts = <IT_PONKEY_F 0>, <IT_PONKEY_R 0>;
             interrupt-names = "onkey-falling", "onkey-rising";
             power-off-time-sec = <10>;
             status = "okay";
         };
 
         watchdog {
             compatible = "st,stpmic1-wdt";
             status = "disabled";
         };
     };
     /* USER CODE END i2c4 */
 };
 
 &i2c5{
     pinctrl-names = "default", "sleep";
     pinctrl-0 = <&i2c5_pins_mx>;
     pinctrl-1 = <&i2c5_sleep_pins_mx>;
     status = "okay";
 
     /* USER CODE BEGIN i2c5 */
     i2c-scl-rising-time-ns = <185>;
     i2c-scl-falling-time-ns = <20>;
     eeprom@50 {
         compatible = "atmel,24c64";
         pagesize = <8>;
         reg = <0x50>;
         vcc-supply = <&v3v3>;
     };
     /* USER CODE END i2c5 */
 };
 
 &ipcc{
     status = "okay";
 
     /* USER CODE BEGIN ipcc */
     /* USER CODE END ipcc */
 };
 
//  &iwdg1{
//      status = "okay";
 
//      /* USER CODE BEGIN iwdg2 */
//      timeout-sec = <32>;
//      /* USER CODE END iwdg2 */
//  };
 
 &m4_dma2{
     status = "okay";
 
     /* USER CODE BEGIN m4_dma2 */
     /* USER CODE END m4_dma2 */
 };
 
 &mdma1{
     status = "okay";
 
     /* USER CODE BEGIN mdma1 */
     /* USER CODE END mdma1 */
 };
 
 &rcc{
     status = "okay";
 
     /* USER CODE BEGIN rcc */
     /* USER CODE END rcc */
 };
 
 &rtc{
     status = "okay";
 
     /* USER CODE BEGIN rtc */
     /* USER CODE END rtc */
 };
 
 &sdmmc1{
     pinctrl-names = "default", "opendrain", "sleep";
     pinctrl-0 = <&sdmmc1_pins_mx>;
     pinctrl-1 = <&sdmmc1_opendrain_pins_mx>;
     pinctrl-2 = <&sdmmc1_sleep_pins_mx>;
     status = "okay";
 
     /* USER CODE BEGIN sdmmc1 */
     broken-cd;
     st,neg-edge;
     bus-width = <4>;
     vmmc-supply = <&vdd_sd>;
     /* USER CODE END sdmmc1 */
 };
 
 &sdmmc3{
     pinctrl-names = "default", "opendrain", "sleep";
     pinctrl-0 = <&sdmmc3_pins_mx>;
     pinctrl-1 = <&sdmmc3_opendrain_pins_mx>;
     pinctrl-2 = <&sdmmc3_sleep_pins_mx>;
     status = "okay";
 
     /* USER CODE BEGIN sdmmc3 */
     broken-cd;
     st,neg-edge;
     bus-width = <4>;
     vmmc-supply = <&vdd_sd>;
     /* USER CODE END sdmmc3 */
 };
 
 &spi2{
     pinctrl-names = "default", "sleep";
     pinctrl-0 = <&spi2_pins_mx>;
     pinctrl-1 = <&spi2_sleep_pins_mx>;
     status = "okay";
 
     /* USER CODE BEGIN spi2 */
     cs-gpios = <&gpioi 0 GPIO_ACTIVE_LOW>, <&gpioh 8 GPIO_ACTIVE_LOW>;
     can@0 {
         compatible = "microchip,mcp2515";
         reg = <0x0>;
         clocks = <&clk_mcp>;
         interrupt-parent = <&gpioh>;
         interrupts = <9 IRQ_TYPE_LEVEL_LOW>;
         spi-max-frequency = <10000000>;
     };
     /* USER CODE END spi2 */
 };
 
 &spi4{
     pinctrl-names = "default", "sleep";
     pinctrl-0 = <&spi4_pins_mx>;
     pinctrl-1 = <&spi4_sleep_pins_mx>;
     status = "okay";
 
     /* USER CODE BEGIN spi4 */
     cs-gpios = <&gpioe 11 GPIO_ACTIVE_LOW>;
     spidev@1{
         compatible = "rohm,dh2228fv";
         reg = <0>;
         spi-max-frequency = <2000000>;
     };
     /* USER CODE END spi4 */
 };
 
 &spi5{
     pinctrl-names = "default", "sleep";
     pinctrl-0 = <&spi5_pins_mx>;
     pinctrl-1 = <&spi5_sleep_pins_mx>;
     status = "okay";
 
     /* USER CODE BEGIN spi5 */
     cs-gpios = <&gpioh 5 GPIO_ACTIVE_LOW>;
     spidev@2{
         compatible = "rohm,dh2228fv";
         // compatible = "spidev";
         reg = <0>;
         spi-max-frequency = <2000000>;
     };
     /* USER CODE END spi5 */
 };
 
 &tamp{
     status = "okay";
 
     /* USER CODE BEGIN tamp */
     /* USER CODE END tamp */
 };
 
 &timers8{
     status = "okay";
 
     /* USER CODE BEGIN timers8 */
     /delete-property/dmas;
     /delete-property/dma-names;
     /* USER CODE END timers8 */
 
     pwm3: pwm{
         pinctrl-names = "default", "sleep";
         pinctrl-0 = <&tim8_pwm_pins_mx>;
         pinctrl-1 = <&tim8_pwm_sleep_pins_mx>;
         status = "okay";
 
         /* USER CODE BEGIN timers8_pwm */
         /* USER CODE END timers8_pwm */
     };
 };
 
 &usbh_ehci{
     status = "okay";
 
     /* USER CODE BEGIN usbh_ehci */
     phys = <&usbphyc_port0>;
     /* USER CODE END usbh_ehci */
 };
 
 &usbh_ohci{
     status = "okay";
 
     /* USER CODE BEGIN usbh_ohci */
     /* USER CODE END usbh_ohci */
 };
 
 &usbotg_hs{
     status = "okay";
 
     /* USER CODE BEGIN usbotg_hs */
     usb-role-switch;
     role-switch-default-mode = "peripheral"; 
     phys = <&usbphyc_port1 0>;
     phy-names = "usb2-phy";
     status = "okay";
     /* USER CODE END usbotg_hs */
 };
 
 &usbphyc{
     status = "okay";
 
     /* USER CODE BEGIN usbphyc */
     /* USER CODE END usbphyc */
 };
 
 &usbphyc_port0{
     status = "okay";
 
     /* USER CODE BEGIN usbphyc_port0 */
     phy-supply = <&vdd_usb>;
     st,phy-tuning = <&usb_phy_tuning>;
     /* USER CODE END usbphyc_port0 */
 };
 
 &usbphyc_port1{
     status = "okay";
 
     /* USER CODE BEGIN usbphyc_port1 */
     phy-supply = <&vdd_usb>;
     st,phy-tuning = <&usb_phy_tuning>;
     /* USER CODE END usbphyc_port1 */
 };
 
 &vrefbuf{
     status = "okay";
 
     /* USER CODE BEGIN vrefbuf */
     regulator-min-microvolt = <2500000>;
     regulator-max-microvolt = <2500000>;
     vdda-supply = <&vdda>;
     /* USER CODE END vrefbuf */
 };
 
 /* USER CODE BEGIN addons */
 &cpu0 {
     cpu-supply = <&vddcore>;
     clock-frequency = <650000000>;
 };
 
 &pwr_regulators {
     vdd-supply = <&vdd>;
     vdd_3v3_usbfs-supply = <&vdd_usb>;
 };
 /* USER CODE END addons */
 
 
